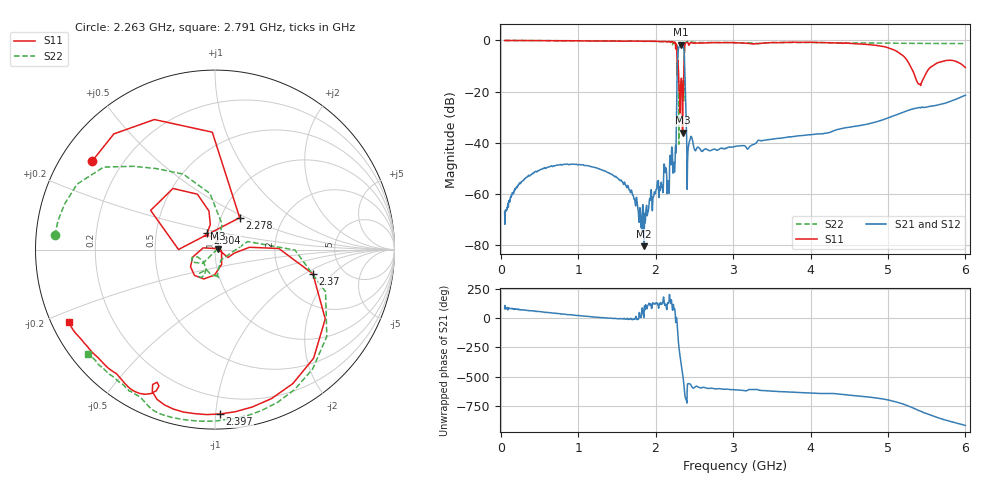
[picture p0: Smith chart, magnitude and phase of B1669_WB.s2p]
! Matrix data file written by TouchstoneData, EPCOS AG
! FILENAME: "B1669_WB.snp"
! COMMENT: "(B1669_WB.s2p)"
! INFO: nport=2, nfreq=1601
! DATE: "Tue Jan 10 16:47:26 2012"
! USER: "Adrian Ma"
! port | pin | signal
!  1  |  2  |  Input
!  2  |  5  |  Output
# MHZ S RI R 50
! freq  reS11 imS11  reS21 imS21  reS12 imS12  reS22 imS22
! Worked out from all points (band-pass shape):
!   1601 points, 50 MHz to 6 GHz, reference 50 ohm
!   highest |S21| = -1.65 dB at 2.322 GHz (marker M1); lowest = -80.4 dB at 1.85 GHz (marker M2)
!   |S21| within 3 dB of the highest: 2.29 GHz to 2.368 GHz (78.39 MHz wide, 3.37 % of centre)
!   lowest |S11| = -36.0 dB at 2.348 GHz (marker M3), VSWR 1.03, Z = 51.5 + j0.567 ohm
!   |S11| at or under -10 dB: 2.293 GHz to 2.366 GHz (73.43 MHz wide, 3.15 % of centre); 5.29 GHz to 5.572 GHz (282 MHz wide, 5.19 % of centre); 5.979154 GHz to end of sweep (the widest 3 of 4)
!   |S22| runs from -40.5 to 0.0 dB; largest |S21 - S12| = 0.0047
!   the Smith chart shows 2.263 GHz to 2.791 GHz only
!   S11 on the Smith chart (normalised r, x): 2.263 GHz: 0.09, +0.32; 2.278 GHz: 1.22, +0.46; 2.304 GHz: 0.90, +0.17; 2.37 GHz: 3.04, -1.20; 2.397 GHz: 0.09, -1.03; 2.791 GHz: 0.05, -0.24
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50  0.9958 -0.0666  8.79e-05 0.000439  0.000101 0.000435  0.9963 -0.06
425.5938  0.8498 -0.5198  0.00131 0.00226  0.0013 0.00226  0.8705 -0.4828
1042.906  0.2292 -0.9548  0.00353 0.00119  0.00353 0.00119  0.3553 -0.9165
1578.406  -0.3747 -0.8956  0.00162 -0.000275  0.00162 -0.000273  -0.1763 -0.9552
1849.875  -0.6323 -0.7316  9.54e-05 8.63e-06  9.46e-05 1.23e-05  -0.4324 -0.8603
2035.812  -0.8128 -0.5116  -0.000154 0.00183  -0.000171 0.00183  -0.6131 -0.7259
2232.906  -0.8947 0.1757  -0.000728 0.00411  -0.000755 0.00411  -0.8817 -0.2876
2262.656  -0.683 0.4945  0.00567 -0.00274  0.00567 -0.00271  -0.8915 0.0794
2277.531  0.1375 0.1777  0.157 -0.1784  0.1583 -0.1777  -0.6204 0.4597
2303.562  -0.0432 0.0936  -0.0825 0.7507  -0.0866 0.7516  -0.0684 -0.0768
2322.156  0.0373 -0.0828  0.8248 0.0563  0.8261 0.0608  -0.0499 -0.1043
2348.188  0.0148 0.0055  -0.2996 -0.7243  -0.2964 -0.7272  -0.0127 -0.1441
2370.5  0.5455 -0.135  -0.1812 0.4712  -0.1843 0.4709  0.4456 -0.00254
2396.531  0.0274 -0.916  0.022 0.00782  0.0219 0.00801  0.1803 -0.9252
2430  -0.3227 -0.7393  -0.00926 0.00292  -0.00928 0.00287  -0.2153 -0.9396
2790.719  -0.8125 -0.4061  -0.00335 0.00633  -0.00341 0.00634  -0.707 -0.58
3025  -0.8706 -0.2333  -0.00295 0.00796  -0.00306 0.00798  -0.799 -0.4273
4017.906  -0.8844 0.2661  0.00212 0.0143  0.00195 0.0145  -0.9153 0.0805
5010.812  -0.1394 0.7  0.0288 0.0118  0.029 0.0118  -0.7257 0.5154
5271.125  0.2511 0.251  0.0379 -0.0216  0.0378 -0.0223  -0.6463 0.6035
5479.375  -0.0893 -0.1894  0.00203 -0.0496  0.002 -0.0498  -0.5624 0.6732
6000  -0.0626 0.2897  -0.0831 0.0191  -0.0832 0.0202  -0.3544 0.793
